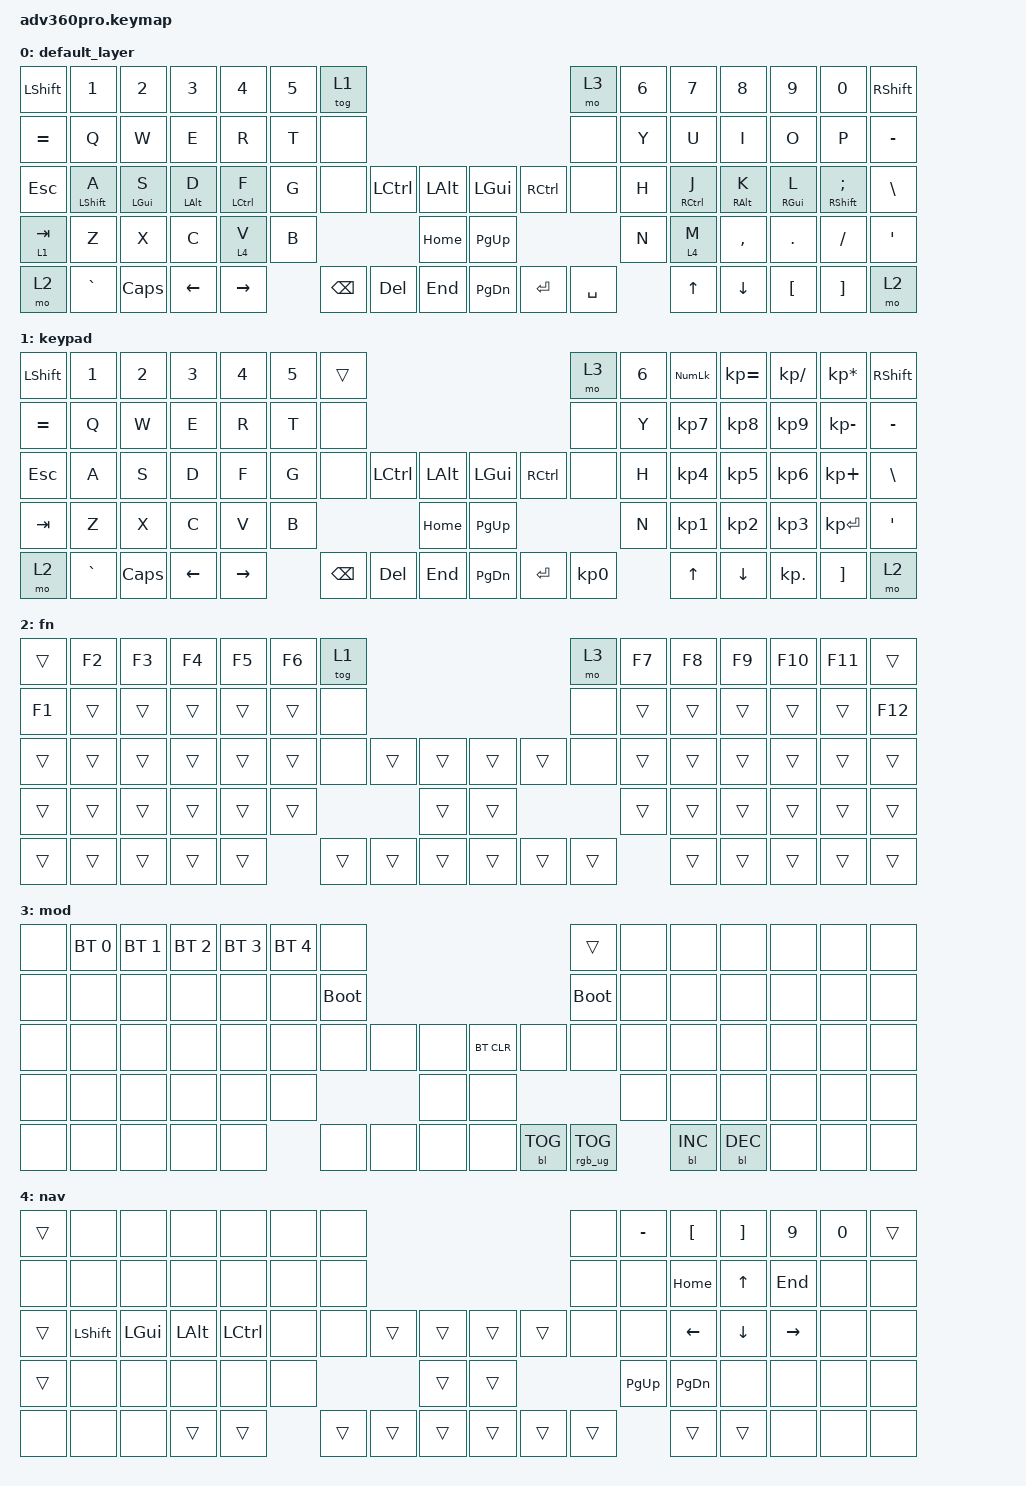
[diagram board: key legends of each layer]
#include <behaviors.dtsi>
#include <dt-bindings/zmk/keys.h>
#include <dt-bindings/zmk/bt.h>
#include <dt-bindings/zmk/rgb.h>
#include <dt-bindings/zmk/backlight.h>

#define KEYS_L 0 1 2 3 4 5 6 14 15 16 17 18 19 20 28 29 30 31 32 33 34 35 36 46 47 48 49 50 51 52 60 61 62 63 64 65 66 67
#define KEYS_R 7 8 9 10 11 12 13 21 22 23 24 25 26 27 37 38 39 40 41 42 43 44 45 53 54 55 56 57 58 59 68 69 70 71 72 73 74 75

/ {

    behaviors {
        hml: home_row_mod_left {
            compatible = "zmk,behavior-hold-tap";
            #binding-cells = <2>;
            flavor = "balanced";
            require-prior-idle-ms = <125>;
            tapping-term-ms = <280>;
            quick-tap-ms = <250>;
            bindings = <&kp>, <&kp>;
            hold-trigger-key-positions = <KEYS_R>;
            hold-trigger-on-release;
        };
        hmr: home_row_mod_right {
            compatible = "zmk,behavior-hold-tap";
            #binding-cells = <2>;
            flavor = "balanced";
            require-prior-idle-ms = <125>;
            tapping-term-ms = <280>;
            quick-tap-ms = <250>;
            bindings = <&kp>, <&kp>;
	    hold-trigger-key-positions = <KEYS_L>;
	    hold-trigger-on-release;
        };
    };
    
    keymap {
        compatible = "zmk,keymap";

        default_layer {
            bindings = <
                &kp LSHFT    &kp N1       &kp N2       &kp N3       &kp N4       &kp N5       &tog 1                                                           &mo 3        &kp N6       &kp N7       &kp N8       &kp N9       &kp N0          &kp RSHFT
                &kp EQUAL    &kp Q        &kp W        &kp E        &kp R        &kp T        &none                                                            &none        &kp Y        &kp U        &kp I        &kp O        &kp P           &kp MINUS
                &kp ESC      &hml LSHFT A &hml LGUI S  &hml LALT D  &hml LCTRL F &kp G        &none        &kp LCTRL    &kp LALT     &kp LGUI     &kp RCTRL    &none        &kp H        &hmr RCTRL J &hmr RALT K  &hmr RGUI L  &hmr RSHFT SEMI &kp BSLH
                &lt 1 TAB    &kp Z        &kp X        &kp C        &lt 4 V      &kp B                                  &kp HOME     &kp PG_UP                              &kp N        &lt 4 M      &kp COMMA    &kp DOT      &kp FSLH        &kp SQT
                &mo 2        &kp GRAVE    &kp CAPS     &kp LEFT     &kp RIGHT                 &kp BSPC     &kp DEL      &kp END      &kp PG_DN    &kp ENTER    &kp SPACE                 &kp UP       &kp DOWN     &kp LBKT     &kp RBKT        &mo 2
            >;
        };
        keypad {
            bindings = <
                &kp LSHFT &kp N1    &kp N2   &kp N3   &kp N4     &kp N5 &trans                                                           &mo 3 &kp N6 &kp KP_NUM &kp KP_EQUAL &kp KP_DIVIDE &kp KP_MULTIPLY &kp RSHFT
                &kp EQUAL &kp Q     &kp W    &kp E    &kp R      &kp T  &none                                                            &none &kp Y  &kp KP_N7  &kp KP_N8    &kp KP_N9     &kp KP_MINUS    &kp MINUS
                &kp ESC   &kp A     &kp S    &kp D    &kp F      &kp G  &none           &kp LCTRL &kp LALT &kp LGUI  &kp RCTRL           &none &kp H  &kp KP_N4  &kp KP_N5    &kp KP_N6     &kp KP_PLUS     &kp BSLH
                &kp TAB   &kp Z     &kp X    &kp C    &kp V      &kp B                            &kp HOME &kp PG_UP                           &kp N  &kp KP_N1  &kp KP_N2    &kp KP_N3     &kp KP_ENTER    &kp SQT
                &mo 2     &kp GRAVE &kp CAPS &kp LEFT &kp RIGHT                &kp BSPC &kp DEL   &kp END  &kp PG_DN &kp ENTER &kp KP_N0              &kp UP     &kp DOWN     &kp KP_DOT    &kp RBKT        &mo 2
            >;
        };
        fn {
            bindings = <
                &trans &kp F2 &kp F3 &kp F4 &kp F5 &kp F6 &tog 1                                           &mo 3 &kp F7 &kp F8 &kp F9 &kp F10 &kp F11 &trans
                &kp F1 &trans &trans &trans &trans &trans  &none                                           &none &trans &trans &trans &trans  &trans  &kp F12
                &trans &trans &trans &trans &trans &trans  &none        &trans &trans &trans &trans        &none &trans &trans &trans &trans  &trans  &trans
                &trans &trans &trans &trans &trans &trans                      &trans &trans                     &trans &trans &trans &trans  &trans  &trans
                &trans &trans &trans &trans &trans               &trans &trans &trans &trans &trans &trans              &trans &trans &trans  &trans  &trans
            >;
        };
        mod {
            bindings = <
                &none &bt BT_SEL 0 &bt BT_SEL 1 &bt BT_SEL 2 &bt BT_SEL 3 &bt BT_SEL 4 &none                                                               &trans      &none &none      &none      &none &none &none
                &none &none        &none        &none        &none        &none        &bootloader                                                         &bootloader &none &none      &none      &none &none &none
                &none &none        &none        &none        &none        &none        &none             &none &none &bt BT_CLR &none                      &none       &none &none      &none      &none &none &none
                &none &none        &none        &none        &none        &none                                &none &none                                             &none &none      &none      &none &none &none
                &none &none        &none        &none        &none                                 &none &none &none &none      &bl BL_TOG &rgb_ug RGB_TOG                   &bl BL_INC &bl BL_DEC &none &none &none
            >;
        };
        nav {
            bindings = <
                &trans       &none        &none        &none        &none        &none        &none                                                            &none        &kp MINUS    &kp LBKT     &kp RBKT     &kp N9       &kp N0       &trans
                &none        &none        &none        &none        &none        &none        &none                                                            &none        &none        &kp HOME     &kp UP       &kp END      &none        &none
                &trans       &kp LSHFT    &kp LGUI     &kp LALT     &kp LCTRL    &none        &none        &trans       &trans       &trans       &trans       &none        &none        &kp LEFT     &kp DOWN     &kp RIGHT    &none        &none
                &trans       &none        &none        &none        &none        &none                                  &trans       &trans                                 &kp PG_UP    &kp PG_DN    &none        &none        &none        &none
                &none        &none        &none        &trans       &trans                    &trans       &trans       &trans       &trans       &trans       &trans                    &trans       &trans       &none        &none        &none
            >;
        };
    };
};
